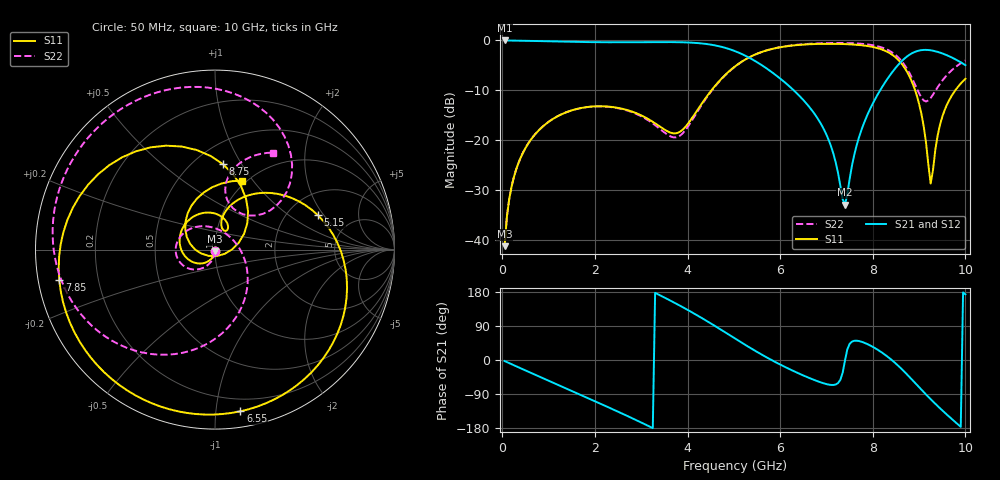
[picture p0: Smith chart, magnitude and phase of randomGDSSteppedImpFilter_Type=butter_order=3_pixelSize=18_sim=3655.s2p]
! freq	dB(S11)	phase(S11)	dB(S12)	phase(S12)
!  dB(S21)	phase(S21)	dB(S22)	phase(S22)
!S-par simulation data
#  GHz  S  DB  R 50
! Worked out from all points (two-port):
!   200 points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, 50 MHz to 10 GHz, reference 50 ohm
!   highest |S21| = 0.00 dB at 50 MHz (marker M1); lowest = -32.9 dB at 7.4 GHz (marker M2)
!   |S21| within 3 dB of the highest: start of sweep to 5.237 GHz; 8.771 GHz to 9.612 GHz (841.4 MHz wide, 9.15 % of centre)
!   lowest |S11| = -41.1 dB at 50 MHz (marker M3), VSWR 1.02, Z = 50 - j0.876 ohm
!   |S11| at or under -10 dB: start of sweep to 4.515 GHz; 8.915 GHz to 9.781 GHz (866.4 MHz wide, 9.27 % of centre)
!   |S22| runs from -41.1 to -0.5 dB; largest |S21 - S12| = 0
!   S11 on the Smith chart (normalised r, x): 50 MHz: 1.00, -0.02; 5.15 GHz: 2.91, +1.75; 6.55 GHz: 0.11, -1.16; 7.85 GHz: 0.06, -0.10; 8.75 GHz: 0.68, +0.84; 10 GHz: 0.96, +0.89
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0.05  -41.14 -92.6  -0.00 -2.8  -0.00 -2.8  -41.10 -91.3
0.2  -29.24 -103.1  -0.02 -11.1  -0.02 -11.1  -29.22 -98.5
0.5  -21.53 -123.7  -0.07 -27.5  -0.07 -27.5  -21.51 -112.1
1.75  -13.43 152.9  -0.32 -95.3  -0.32 -95.3  -13.44 -164.8
2.7  -13.93 90.4  -0.36 -147.7  -0.36 -147.7  -14.03 153.4
3.4  -17.20 58.6  -0.33 171.1  -0.33 171.1  -17.66 103.4
3.8  -18.43 68.0  -0.35 145.8  -0.35 145.8  -19.25 40.1
4.3  -12.73 73.8  -0.60 111.4  -0.60 111.4  -12.98 -36.2
5.05  -5.02 26.2  -2.23 54.8  -2.23 54.8  -5.05 -100.1
5.15  -4.37 18.4  -2.63 47.2  -2.63 47.2  -4.39 -107.5
5.8  -1.76 -30.9  -6.20 0.8  -6.20 0.8  -1.75 -151.2
6.55  -0.80 -81.1  -12.43 -43.4  -12.43 -43.4  -0.72 166.8
6.7  -0.73 -90.5  -14.14 -51.0  -14.14 -51.0  -0.63 159.1
7.1  -0.67 -115.7  -21.20 -65.8  -21.20 -65.8  -0.51 138.9
7.4  -0.73 -135.4  -32.85 -1.4  -32.85 -1.4  -0.52 123.5
7.85  -1.07 -168.9  -15.62 43.9  -15.62 43.9  -0.75 98.7
8.35  -2.46 141.4  -7.23 5.9  -7.23 5.9  -2.02 65.9
8.75  -6.43 84.5  -3.14 -39.4  -3.14 -39.4  -5.83 38.7
9.05  -14.69 28.5  -1.94 -78.3  -1.94 -78.3  -11.43 45.0
9.25  -28.62 -78.8  -1.97 -103.5  -1.97 -103.5  -11.51 72.3
9.5  -15.29 155.9  -2.59 -132.9  -2.59 -132.9  -8.05 80.2
10  -7.66 68.3  -4.94 173.2  -4.94 173.2  -4.02 59.2
